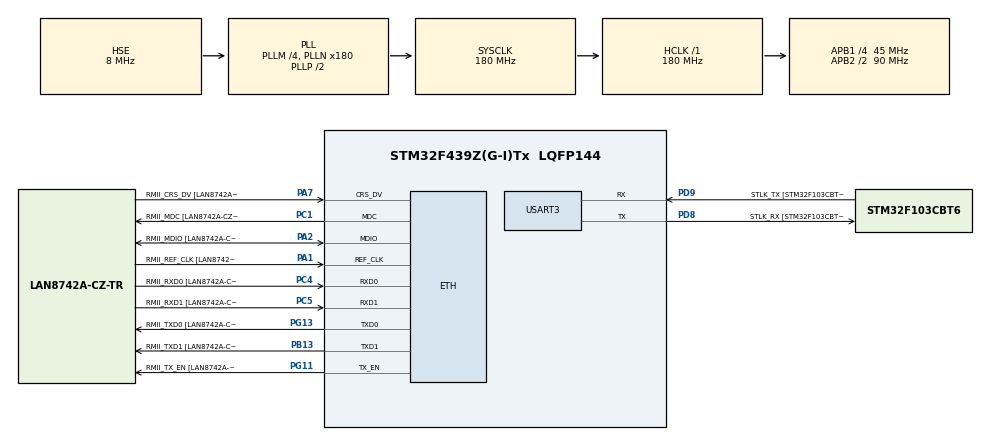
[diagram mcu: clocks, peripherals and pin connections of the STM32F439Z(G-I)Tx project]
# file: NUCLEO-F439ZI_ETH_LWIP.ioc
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ETH.MACAddr=80\:34\:28\:74\:A5\:CC
ETH.MediaInterface=HAL_ETH_RMII_MODE
ETH.PHY_Name=LAN8742A_PHY_ADDRESS
ETH.PHY_Value=0
ETH.PhyAddress=0
FREERTOS.Tasks01=defaultTask,24,512,StartDefaultTask,Default,NULL,Dynamic,NULL,NULL
FREERTOS.configGENERATE_RUN_TIME_STATS=1
FREERTOS.configRECORD_STACK_HIGH_ADDRESS=1
FREERTOS.configUSE_NEWLIB_REENTRANT=1
LWIP.BSP.number=1
LWIP.GATEWAY_ADDRESS=192.168.001.001
LWIP.IP_ADDRESS=192.168.001.100
LWIP.LWIP_DHCP=0
LWIP.NETMASK_ADDRESS=255.255.255.000
LWIP.Version=v2.1.2_Cube
LWIP0.BSP.STBoard=false
LWIP0.BSP.api=BSP_COMPONENT_DRIVER
LWIP0.BSP.component=LAN8742
LWIP0.BSP.instance=LAN8742
LWIP0.BSP.name=Driver_PHY
LWIP0.BSP.semaphore=S_LAN8742
LWIP0.BSP.solution=LAN8742
Mcu.Family=STM32F4
Mcu.Name=STM32F439Z(G-I)Tx
Mcu.Package=LQFP144
NVIC.ETH_IRQn=true\:5\:0\:false\:false\:true\:true\:false\:true\:true
NVIC.PriorityGroup=NVIC_PRIORITYGROUP_4
NVIC.TIM6_DAC_IRQn=true\:15\:0\:false\:false\:true\:false\:false\:true\:true
NVIC.TimeBase=TIM6_DAC_IRQn
NVIC.TimeBaseIP=TIM6
PA1.GPIO_Label=RMII_REF_CLK [LAN8742A-CZ-TR_REFCLK0]
PA1.Mode=RMII
PA1.Signal=ETH_REF_CLK
PA13.GPIO_Label=TMS
PA13.Mode=Serial_Wire
PA13.Signal=SYS_JTMS-SWDIO
PA14.GPIO_Label=TCK
PA14.Mode=Serial_Wire
PA14.Signal=SYS_JTCK-SWCLK
PA2.GPIO_Label=RMII_MDIO [LAN8742A-CZ-TR_MDIO]
PA2.Mode=RMII
PA2.Signal=ETH_MDIO
PA7.GPIO_Label=RMII_CRS_DV [LAN8742A-CZ-TR_CRS_DV]
PA7.Mode=RMII
PA7.Signal=ETH_CRS_DV
PB13.GPIO_Label=RMII_TXD1 [LAN8742A-CZ-TR_TXD1]
PB13.Mode=RMII
PB13.Signal=ETH_TXD1
PC1.GPIO_Label=RMII_MDC [LAN8742A-CZ-TR_MDC]
PC1.Mode=RMII
PC1.Signal=ETH_MDC
PC14/OSC32_IN.Mode=LSE-External-Oscillator
PC14/OSC32_IN.Signal=RCC_OSC32_IN
PC15/OSC32_OUT.Mode=LSE-External-Oscillator
PC15/OSC32_OUT.Signal=RCC_OSC32_OUT
PC4.GPIO_Label=RMII_RXD0 [LAN8742A-CZ-TR_RXD0]
PC4.Mode=RMII
PC4.Signal=ETH_RXD0
PC5.GPIO_Label=RMII_RXD1 [LAN8742A-CZ-TR_RXD1]
PC5.Mode=RMII
PC5.Signal=ETH_RXD1
PD8.GPIO_Label=STLK_RX [STM32F103CBT6_PA3]
PD8.Mode=Asynchronous
PD8.Signal=USART3_TX
PD9.GPIO_Label=STLK_TX [STM32F103CBT6_PA2]
PD9.Mode=Asynchronous
PD9.Signal=USART3_RX
PG11.GPIO_Label=RMII_TX_EN [LAN8742A-CZ-TR_TXEN]
PG11.Mode=RMII
PG11.Signal=ETH_TX_EN
PG13.GPIO_Label=RMII_TXD0 [LAN8742A-CZ-TR_TXD0]
PG13.Mode=RMII
PG13.Signal=ETH_TXD0
PH0/OSC_IN.GPIO_Label=MCO [STM32F103CBT6_PA8]
PH0/OSC_IN.Mode=HSE-External-Clock-Source
PH0/OSC_IN.Signal=RCC_OSC_IN
PH1/OSC_OUT.Mode=HSE-External-Clock-Source
PH1/OSC_OUT.Signal=RCC_OSC_OUT
ProjectManager.HeapSize=0x200
ProjectManager.StackSize=0x400
ProjectManager.TargetToolchain=STM32CubeIDE
RCC.48MHZClocksFreq_Value=51428571.428571425
RCC.AHBFreq_Value=180000000
RCC.APB1CLKDivider=RCC_HCLK_DIV4
RCC.APB1Freq_Value=45000000
RCC.APB1TimFreq_Value=90000000
RCC.APB2CLKDivider=RCC_HCLK_DIV2
RCC.APB2Freq_Value=90000000
RCC.APB2TimCLKDivider=2
RCC.APB2TimFreq_Value=180000000
RCC.CortexFreq_Value=180000000
RCC.HCLKFreq_Value=180000000
RCC.HSE_VALUE=8000000
RCC.HSI_VALUE=16000000
RCC.PLLM=4
RCC.PLLMUL=RCC_PLL_MUL9
RCC.PLLN=180
RCC.PLLQ=7
RCC.PLLSourceVirtual=RCC_PLLSOURCE_HSE
RCC.PRESCALERUSB=RCC_USBCLKSOURCE_PLL_DIV1_5
RCC.SYSCLKFreq_VALUE=180000000
RCC.SYSCLKSource=RCC_SYSCLKSOURCE_PLLCLK
RCC.SYSCLKSourceVirtual=RCC_SYSCLKSOURCE_PLLCLK
RCC.USBFreq_Value=48000000
RCC.VCOOutputFreq_Value=360000000
USART3.VirtualMode=VM_ASYNC
VP_FREERTOS_VS_CMSIS_V2.Mode=CMSIS_V2
VP_LWIP_VS_Enabled.Mode=Enabled
VP_SYS_VS_tim6.Mode=TIM6
board=NUCLEO-F439ZI

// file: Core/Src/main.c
/* USER CODE BEGIN Header */
/**
  ******************************************************************************
  * @file           : main.c
  * @brief          : Main program body
  ******************************************************************************
  * @attention
  *
  * Copyright (c) 2024 STMicroelectronics.
  * All rights reserved.
  *
  * This software is licensed under terms that can be found in the LICENSE file
  * in the root directory of this software component.
  * If no LICENSE file comes with this software, it is provided AS-IS.
  *
  ******************************************************************************
  */
/* USER CODE END Header */
#include "main.h"
#include "cmsis_os.h"
#include "lwip.h"
#include "usart.h"
#include "gpio.h"

/* USER CODE BEGIN PV */
extern UART_HandleTypeDef huart3;
/* USER CODE END PV */

void SystemClock_Config(void);
void MX_FREERTOS_Init(void);

/* USER CODE BEGIN 0 */
void serial_write (const char data)
{
    while (__HAL_UART_GET_FLAG(&huart3, UART_FLAG_TXE) == RESET);

    huart3.Instance->DR = data;
}

// This is std C; make sure to get fn name correctly
int __io_putchar(int ch)
{
	serial_write(ch);
	return ch;
}

/* USER CODE END 0 */

int main(void)
{

  /* MCU Configuration--------------------------------------------------------*/

  /* Reset of all peripherals, Initializes the Flash interface and the Systick. */
  HAL_Init();

  /* Configure the system clock */
  SystemClock_Config();

  /* Initialize all configured peripherals */
  MX_GPIO_Init();
  MX_USART3_UART_Init();

  /* Init scheduler */
  osKernelInitialize();

  /* Call init function for freertos objects (in cmsis_os2.c) */
  MX_FREERTOS_Init();

  /* Start scheduler */
  osKernelStart();

  /* We should never get here as control is now taken by the scheduler */

  /* Infinite loop */
  while (1)
  {

  }
}

void SystemClock_Config(void)
{
  RCC_OscInitTypeDef RCC_OscInitStruct = {0};
  RCC_ClkInitTypeDef RCC_ClkInitStruct = {0};

  /** Configure the main internal regulator output voltage
  */
  __HAL_RCC_PWR_CLK_ENABLE();
  __HAL_PWR_VOLTAGESCALING_CONFIG(PWR_REGULATOR_VOLTAGE_SCALE1);

  /** Initializes the RCC Oscillators according to the specified parameters
  * in the RCC_OscInitTypeDef structure.
  */
  RCC_OscInitStruct.OscillatorType = RCC_OSCILLATORTYPE_HSE;
  RCC_OscInitStruct.HSEState = RCC_HSE_BYPASS;
  RCC_OscInitStruct.PLL.PLLState = RCC_PLL_ON;
  RCC_OscInitStruct.PLL.PLLSource = RCC_PLLSOURCE_HSE;
  RCC_OscInitStruct.PLL.PLLM = 4;
  RCC_OscInitStruct.PLL.PLLN = 180;
  RCC_OscInitStruct.PLL.PLLP = RCC_PLLP_DIV2;
  RCC_OscInitStruct.PLL.PLLQ = 7;
  if (HAL_RCC_OscConfig(&RCC_OscInitStruct) != HAL_OK)
  {
    Error_Handler();
  }

  /** Activate the Over-Drive mode
  */
  if (HAL_PWREx_EnableOverDrive() != HAL_OK)
  {
    Error_Handler();
  }

  /** Initializes the CPU, AHB and APB buses clocks
  */
  RCC_ClkInitStruct.ClockType = RCC_CLOCKTYPE_HCLK|RCC_CLOCKTYPE_SYSCLK
                              |RCC_CLOCKTYPE_PCLK1|RCC_CLOCKTYPE_PCLK2;
  RCC_ClkInitStruct.SYSCLKSource = RCC_SYSCLKSOURCE_PLLCLK;
  RCC_ClkInitStruct.AHBCLKDivider = RCC_SYSCLK_DIV1;
  RCC_ClkInitStruct.APB1CLKDivider = RCC_HCLK_DIV4;
  RCC_ClkInitStruct.APB2CLKDivider = RCC_HCLK_DIV2;

  if (HAL_RCC_ClockConfig(&RCC_ClkInitStruct, FLASH_LATENCY_5) != HAL_OK)
  {
    Error_Handler();
  }
}

void HAL_TIM_PeriodElapsedCallback(TIM_HandleTypeDef *htim)
{
  if (htim->Instance == TIM6) {
    HAL_IncTick();
  }
}

void Error_Handler(void)
{
  __disable_irq();
  while (1)
  {
  }
}

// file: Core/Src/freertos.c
/* USER CODE BEGIN Header */
/**
  ******************************************************************************
  * File Name          : freertos.c
  * Description        : Code for freertos applications
  ******************************************************************************
  * @attention
  *
  * Copyright (c) 2024 STMicroelectronics.
  * All rights reserved.
  *
  * This software is licensed under terms that can be found in the LICENSE file
  * in the root directory of this software component.
  * If no LICENSE file comes with this software, it is provided AS-IS.
  *
  ******************************************************************************
  */
/* USER CODE END Header */

#include "FreeRTOS.h"
#include "task.h"
#include "main.h"
#include "cmsis_os.h"

/* USER CODE BEGIN Includes */
#include <stdio.h>
#include "lwip/api.h"
/* USER CODE END Includes */

/* USER CODE BEGIN Variables */
osThreadId_t tcp_task_handle;
const osThreadAttr_t tcp_echo_attributes = {
  .name = "TCP_ECHO_TASK",
  .stack_size = 512 * 4,
  .priority = (osPriority_t) osPriorityRealtime,
};

/* USER CODE END Variables */
/* Definitions for defaultTask */
osThreadId_t defaultTaskHandle;
const osThreadAttr_t defaultTask_attributes = {
  .name = "defaultTask",
  .stack_size = 512 * 4,
  .priority = (osPriority_t) osPriorityNormal,
};

void StartDefaultTask(void *argument);
void tcp_echo_task (void *argument);

extern void MX_LWIP_Init(void);
void MX_FREERTOS_Init(void); /* (MISRA C 2004 rule 8.1) */

/* Hook prototypes */
void configureTimerForRunTimeStats(void);
unsigned long getRunTimeCounterValue(void);

/* USER CODE BEGIN 1 */
/* Functions needed when configGENERATE_RUN_TIME_STATS is on */
__weak void configureTimerForRunTimeStats(void)
{

}

__weak unsigned long getRunTimeCounterValue(void)
{
return 0;
}
/* USER CODE END 1 */

void MX_FREERTOS_Init(void) {

  /* Create the thread(s) */
  /* creation of defaultTask */
  defaultTaskHandle = osThreadNew(StartDefaultTask, NULL, &defaultTask_attributes);

}

void StartDefaultTask(void *argument)
{
  /* init code for LWIP */
  MX_LWIP_Init();
  /* USER CODE BEGIN StartDefaultTask */

  osThreadNew(tcp_echo_task, NULL, &tcp_echo_attributes);
  /* Infinite loop */
  for(;;)
  {
	printf("Running...\r\n");
    osDelay(5000);
  }
  /* USER CODE END StartDefaultTask */
}

/* USER CODE BEGIN Application */
void tcp_echo_task (void *argument)
{
	struct netconn *conn, *newconn;
	err_t err, accept_err;
	struct netbuf *buf;
	void *data;
	uint16_t len;
	//err_t recv_err;

	LWIP_UNUSED_ARG(argument);

	conn = netconn_new(NETCONN_TCP);
	if (conn != NULL) {
		printf("netconn created...\r\n");
		err = netconn_bind(conn, NULL, 7);
		if (err == ERR_OK) {
			printf("netconn is bound to port 7...\r\n");
			netconn_listen(conn);

			// Indefinite waiting
			while (1) {
				printf("Listening for connections...\r\n");

				accept_err = netconn_accept(conn, &newconn);

				if (accept_err == ERR_OK) {

					printf("Connection accepted...\r\n");
					while (netconn_recv(newconn, &buf) == ERR_OK) {

						do {
							netbuf_data(buf, &data, &len);
							netconn_write(newconn, data, len, NETCONN_COPY);
						} while (netbuf_next(buf) >= 0);

						netbuf_delete(buf);
					}

					/* this will be hit once connection is closed, prev err is ERR_CLSD */
					netconn_close(newconn);
					netconn_delete(newconn);
					printf("Client disconnected.\r\n");
				}
			}
		} else {
			netconn_delete(newconn);
			printf(" can not bind TCP netconn\r\n");
		}
	} else {
		printf("can not create TCP netconn.\r\n");
	}
}
/* USER CODE END Application */
